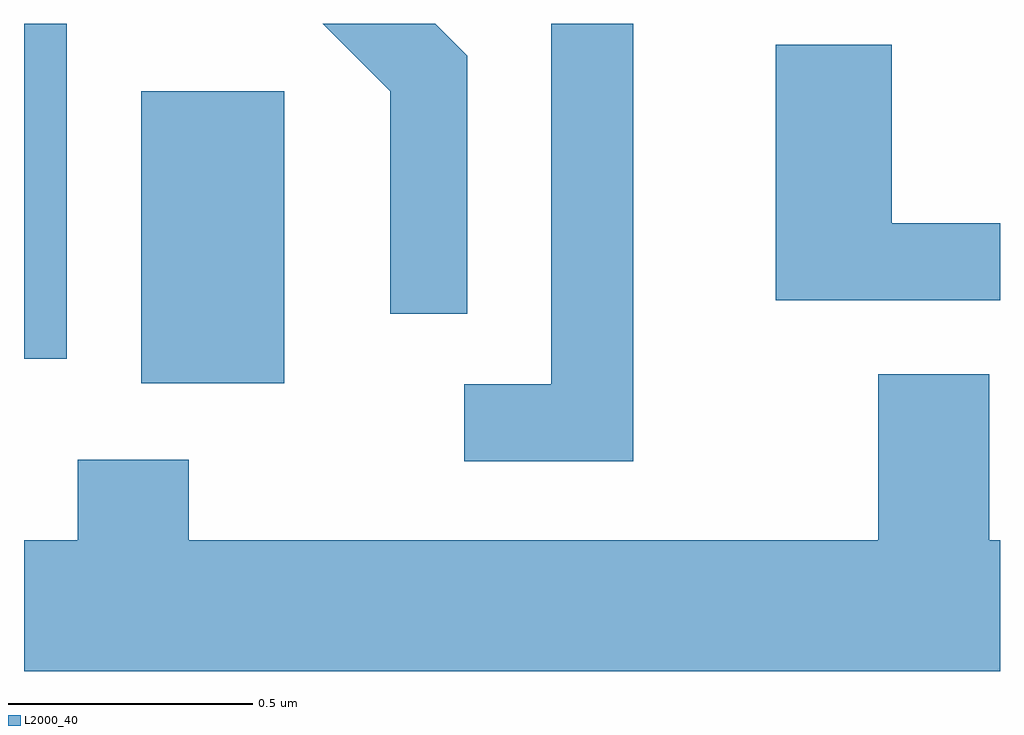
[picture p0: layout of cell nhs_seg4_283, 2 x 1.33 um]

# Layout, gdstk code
import gdstk
lib = gdstk.Library(unit=1e-6, precision=1e-09)
def R(c, l, rs):  # rectangles x0, y0, x1, y1
    for r in rs: c.add(gdstk.rectangle(r[:2], r[2:], *l))
def P(c, l, *ps):  # polygons
    for p in ps: c.add(gdstk.Polygon(p, *l))
L2000_40 = (2000, 40)

nhs_seg4_283 = lib.new_cell('nhs_seg4_283')
R(nhs_seg4_283, L2000_40, [(187.851,1264.246,188.144,1264.844), (187.611,1264.296,187.699,1264.982)])
P(nhs_seg4_283, L2000_40, [(188.859,1264.982),(188.691,1264.982),(188.691,1264.244),(188.513,1264.244),(188.513,1264.086),(188.859,1264.086)],
  [(188.519,1264.917),(188.454,1264.982),(188.223,1264.982),(188.361,1264.844),(188.361,1264.388),(188.519,1264.388)],
  [(189.611,1264.574),(189.389,1264.574),(189.389,1264.939),(189.151,1264.939),(189.151,1264.416),(189.611,1264.416)],
  [(189.611,1263.924),(189.589,1263.924),(189.589,1264.264),(189.361,1264.264),(189.361,1263.924),(187.949,1263.924),(187.949,1264.089),(187.721,1264.089),(187.721,1263.924),(187.611,1263.924),(187.611,1263.656),(189.611,1263.656)])

lib.write_gds('nhs_seg4_283.gds')
